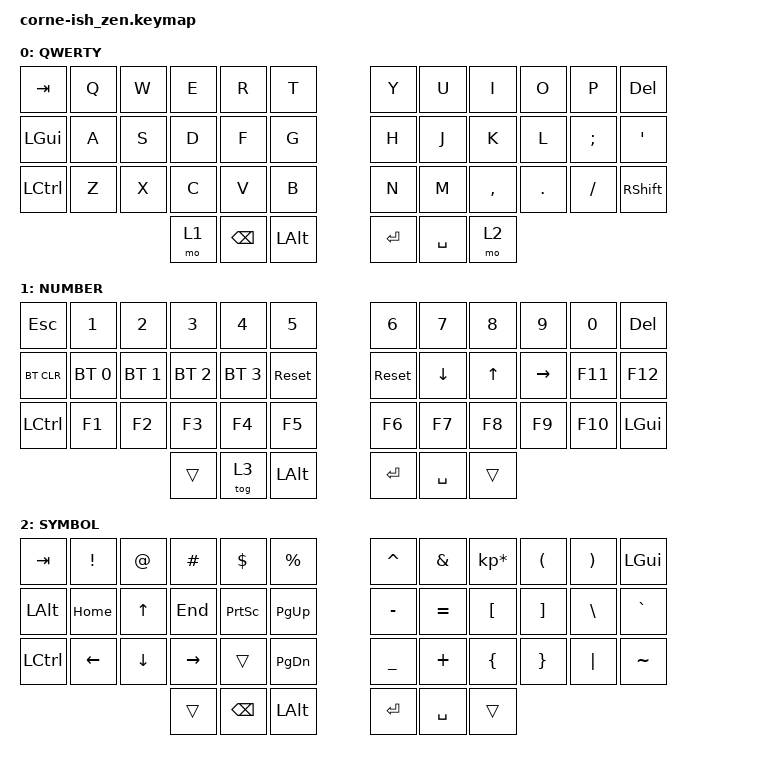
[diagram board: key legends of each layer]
/*
*
* Copyright (c) 2021 Darryl deHaan
* SPDX-License-Identifier: MIT
*
*/

#include <behaviors.dtsi>
#include <dt-bindings/zmk/keys.h>
#include <dt-bindings/zmk/bt.h>

/ {
  chosen {
    zmk,matrix_transform = &default_transform;
    //zmk,matrix_transform = &five_column_transform;
  };
};

/ {
        keymap {
                compatible = "zmk,keymap";

                default_layer {
                        label = "QWERTY";
// -----------------------------------------------------------------------------------------
// |  TAB |  Q  |  W  |  E  |  R  |  T  |   |  Y  |  U   |  I  |  O  |  P  | BKSP |
// | CTRL |  A  |  S  |  D  |  F  |  G  |   |  H  |  J   |  K  |  L  |  ;  |  '   |
// | SHFT |  Z  |  X  |  C  |  V  |  B  |   |  N  |  M   |  ,  |  .  |  /  | ESC  |
//                    | GUI | LWR | SPC |   | ENT | RSE  | ALT |
                        bindings = <
   &kp TAB      &kp Q           &kp W     &kp E     &kp R      &kp T           &kp Y           &kp U   &kp I     &kp O   &kp P    &kp DEL
   &kp LGUI     &kp A           &kp S     &kp D     &kp F      &kp G           &kp H           &kp J   &kp K     &kp L   &kp SEMI &kp SQT
   &kp LCTRL    &kp Z      &kp X     &kp C     &kp V      &kp B           &kp N           &kp M   &kp COMMA &kp DOT &kp FSLH &kp RSHFT
                                    &mo 1     &kp BSPC   &kp LALT         &kp RET         &kp SPACE &mo 2
                        >;
                };
                lower_layer {
                        label = "NUMBER";
// -----------------------------------------------------------------------------------------
// |  TAB |  1  |  2  |  3  |  4  |  5  |   |  6  |  7  |  8  |  9  |  0  | BKSP |
// | BTCLR| BT1 | BT2 | BT3 | BT4 | BT5 |   | LFT | DWN |  UP | RGT |     |      |
// | SHFT |     |     |     |     |     |   |     |     |     |     |     |      |
//                    | GUI |     | SPC |   | ENT |     | ALT |
                        bindings = <
   &kp ESC    &kp N1       &kp N2       &kp N3       &kp N4       &kp N5         &kp N6         &kp N7    &kp N8 &kp N9    &kp N0 &kp DEL
   &bt BT_CLR &bt BT_SEL 0 &bt BT_SEL 1 &bt BT_SEL 2 &bt BT_SEL 3 &sys_reset        &sys_reset       &kp DOWN  &kp UP &kp RIGHT &kp F11 &kp F12
   &kp LCTRL  &kp F1       &kp F2       &kp F3       &kp F4       &kp F5         &kp F6         &kp F7    &kp F8 &kp F9    &kp F10 &kp LGUI
                          	        &trans       &tog 3      &kp LALT        &kp RET      &kp SPACE   &trans
                        >;
                };

                raise_layer {
                        label = "SYMBOL";
// -----------------------------------------------------------------------------------------
// |  TAB |  !  |  @  |  #  |  $  |  %  |   |  ^  |  &  |  *  |  (  |  )  | BKSP |
// | CTRL |     |     |     |     |     |   |  -  |  =  |  [  |  ]  |  \  |  `   |
// | SHFT |     |     |     |     |     |   |  _  |  +  |  {  |  }  | "|" |  ~   |
//                    | GUI |     | SPC |   | ENT |     | ALT |
                        bindings = <
        &kp  TAB  &kp EXCL  &kp AT   &kp HASH   &kp DLLR  &kp PRCNT   &kp CARET  &kp AMPS  &kp KP_MULTIPLY &kp LPAR &kp RPAR &kp LGUI
        &kp LALT  &kp HOME  &kp UP   &kp END    &kp PSCRN &kp PG_UP   &kp MINUS  &kp EQUAL &kp LBKT        &kp RBKT &kp BSLH &kp GRAVE
        &kp LCTRL &kp LEFT  &kp DOWN &kp RIGHT  &trans    &kp PG_DN   &kp UNDER  &kp PLUS  &kp LBRC        &kp RBRC &kp PIPE &kp TILDE
                          	    &trans     &kp BSPC  &kp LALT     &kp RET  &kp SPACE   &trans
                        >;
                };
        };
};
